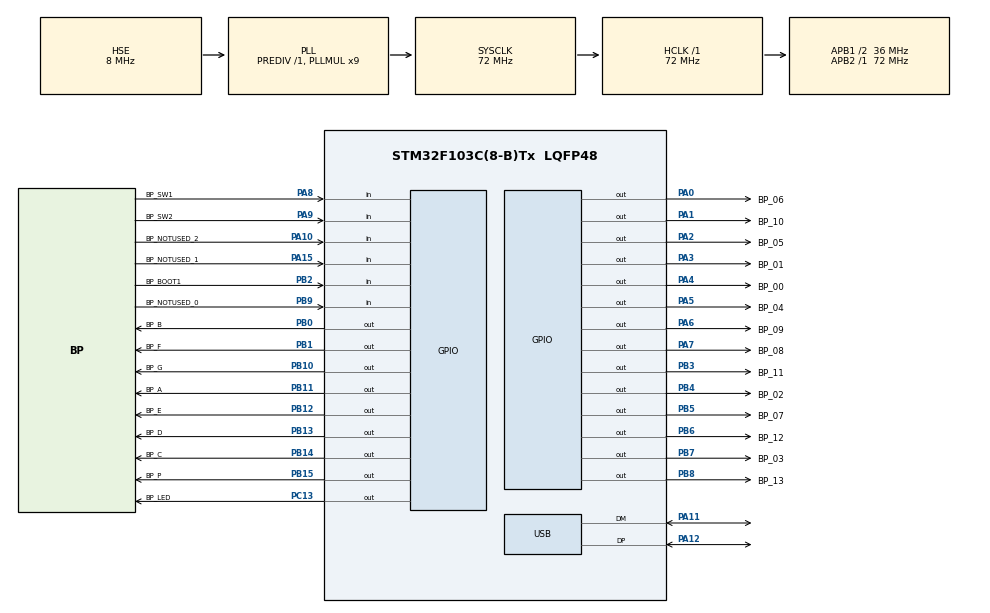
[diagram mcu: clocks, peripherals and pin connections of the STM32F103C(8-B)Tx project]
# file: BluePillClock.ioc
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FREERTOS.Tasks01=defaultTask,24,128,StartDefaultTask,Default,NULL,Dynamic,NULL,NULL
Mcu.Family=STM32F1
Mcu.Name=STM32F103C(8-B)Tx
Mcu.Package=LQFP48
NVIC.PriorityGroup=NVIC_PRIORITYGROUP_4
NVIC.TIM1_UP_IRQn=true\:0\:0\:false\:false\:true\:false\:false\:true
NVIC.TimeBase=TIM1_UP_IRQn
NVIC.TimeBaseIP=TIM1
NVIC.USB_LP_CAN1_RX0_IRQn=true\:5\:0\:false\:false\:true\:true\:false\:true
PA0-WKUP.GPIO_Label=BP_06
PA0-WKUP.Signal=GPIO_Output
PA1.GPIO_Label=BP_10
PA1.Signal=GPIO_Output
PA10.GPIO_Label=BP_NOTUSED_2
PA10.GPIO_PuPd=GPIO_PULLDOWN
PA10.Signal=GPIO_Input
PA11.Mode=Device
PA11.Signal=USB_DM
PA12.Mode=Device
PA12.Signal=USB_DP
PA13.Mode=Serial_Wire
PA13.Signal=SYS_JTMS-SWDIO
PA14.Mode=Serial_Wire
PA14.Signal=SYS_JTCK-SWCLK
PA15.GPIO_Label=BP_NOTUSED_1
PA15.GPIO_PuPd=GPIO_PULLDOWN
PA15.Signal=GPIO_Input
PA2.GPIO_Label=BP_05
PA2.Signal=GPIO_Output
PA3.GPIO_Label=BP_01
PA3.Signal=GPIO_Output
PA4.GPIO_Label=BP_00
PA4.Signal=GPIO_Output
PA5.GPIO_Label=BP_04
PA5.Signal=GPIO_Output
PA6.GPIO_Label=BP_09
PA6.Signal=GPIO_Output
PA7.GPIO_Label=BP_08
PA7.Signal=GPIO_Output
PA8.GPIO_Label=BP_SW1
PA8.GPIO_PuPd=GPIO_PULLUP
PA8.Signal=GPIO_Input
PA9.GPIO_Label=BP_SW2
PA9.GPIO_PuPd=GPIO_PULLUP
PA9.Signal=GPIO_Input
PB0.GPIO_Label=BP_B
PB0.Signal=GPIO_Output
PB1.GPIO_Label=BP_F
PB1.Signal=GPIO_Output
PB10.GPIO_Label=BP_G
PB10.Signal=GPIO_Output
PB11.GPIO_Label=BP_A
PB11.Signal=GPIO_Output
PB12.GPIO_Label=BP_E
PB12.Signal=GPIO_Output
PB13.GPIO_Label=BP_D
PB13.Signal=GPIO_Output
PB14.GPIO_Label=BP_C
PB14.Signal=GPIO_Output
PB15.GPIO_Label=BP_P
PB15.Signal=GPIO_Output
PB2.GPIO_Label=BP_BOOT1
PB2.GPIO_PuPd=GPIO_PULLDOWN
PB2.Signal=GPIO_Input
PB3.GPIO_Label=BP_11
PB3.Signal=GPIO_Output
PB4.GPIO_Label=BP_02
PB4.Signal=GPIO_Output
PB5.GPIO_Label=BP_07
PB5.Signal=GPIO_Output
PB6.GPIO_Label=BP_12
PB6.Signal=GPIO_Output
PB7.GPIO_Label=BP_03
PB7.Signal=GPIO_Output
PB8.GPIO_Label=BP_13
PB8.Signal=GPIO_Output
PB9.GPIO_Label=BP_NOTUSED_0
PB9.GPIO_PuPd=GPIO_PULLDOWN
PB9.Signal=GPIO_Input
PC13-TAMPER-RTC.GPIO_Label=BP_LED
PC13-TAMPER-RTC.GPIO_ModeDefaultOutputPP=GPIO_MODE_OUTPUT_OD
PC13-TAMPER-RTC.Signal=GPIO_Output
PC14-OSC32_IN.Mode=LSE-External-Oscillator
PC14-OSC32_IN.Signal=RCC_OSC32_IN
PC15-OSC32_OUT.Mode=LSE-External-Oscillator
PC15-OSC32_OUT.Signal=RCC_OSC32_OUT
PD0-OSC_IN.Mode=HSE-External-Oscillator
PD0-OSC_IN.Signal=RCC_OSC_IN
PD1-OSC_OUT.Mode=HSE-External-Oscillator
PD1-OSC_OUT.Signal=RCC_OSC_OUT
ProjectManager.HeapSize=0x200
ProjectManager.StackSize=0x400
ProjectManager.TargetToolchain=TrueSTUDIO
RCC.AHBFreq_Value=72000000
RCC.APB1CLKDivider=RCC_HCLK_DIV2
RCC.APB1Freq_Value=36000000
RCC.APB1TimFreq_Value=72000000
RCC.APB2Freq_Value=72000000
RCC.APB2TimFreq_Value=72000000
RCC.HCLKFreq_Value=72000000
RCC.PLLMUL=RCC_PLL_MUL9
RCC.PLLSourceVirtual=RCC_PLLSOURCE_HSE
RCC.RTCClockSelection=RCC_RTCCLKSOURCE_LSE
RCC.SYSCLKFreq_VALUE=72000000
RCC.SYSCLKSource=RCC_SYSCLKSOURCE_PLLCLK
RCC.USBFreq_Value=48000000
RCC.USBPrescaler=RCC_USBCLKSOURCE_PLL_DIV1_5
USB_DEVICE.CLASS_NAME_FS=CDC
USB_DEVICE.VirtualMode=Cdc
USB_DEVICE.VirtualModeFS=Cdc_FS
VP_FREERTOS_VS_CMSIS_V2.Mode=CMSIS_V2
VP_RTC_No_RTC_Output.Mode=RTC_OUT_NO
VP_RTC_VS_RTC_Activate.Mode=RTC_Enabled
VP_RTC_VS_RTC_Calendar.Mode=RTC_Calendar
VP_SYS_VS_tim1.Mode=TIM1
VP_USB_DEVICE_VS_USB_DEVICE_CDC_FS.Mode=CDC_FS
board=custom

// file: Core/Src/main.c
/* USER CODE BEGIN Header */
/**
  ******************************************************************************
  * @file           : main.c
  * @brief          : Main program body
  ******************************************************************************
  * @attention
  *
  * <h2><center>&copy; Copyright (c) 2021 STMicroelectronics.
  * All rights reserved.</center></h2>
  *
  * This software component is licensed by ST under Ultimate Liberty license
  * SLA0044, the "License"; You may not use this file except in compliance with
  * the License. You may obtain a copy of the License at:
  *                             www.st.com/SLA0044
  *
  ******************************************************************************
  */
/* USER CODE END Header */
#include "main.h"
#include "cmsis_os.h"
#include "usb_device.h"

/* USER CODE BEGIN Includes */

#include "Queue.h"
#include "usbd_cdc_if.h"
#include "time.h"

/* USER CODE END Includes */

/* USER CODE BEGIN PTD */
typedef struct
{
    QueueHandle_t queueTime ;
    QueueHandle_t queueDsp  ;
} Queue_readTime_t ;
/* USER CODE END PTD */

RTC_HandleTypeDef hrtc;

/* Definitions for defaultTask */
osThreadId_t defaultTaskHandle;
const osThreadAttr_t defaultTask_attributes = {
  .name = "defaultTask",
  .stack_size = 128 * 4,
  .priority = (osPriority_t) osPriorityNormal,
};
/* USER CODE BEGIN PV */

/* Definitions for rtcRead_Task */
osThreadId_t rtcRead_Task_Handle;
const osThreadAttr_t rtcRead_Task_attributes = {
  .name = "rtcRead_Task",
  .stack_size = 128 * 4,
  .priority = (osPriority_t) osPriorityNormal,
};

/* Definitions for dspTask */
osThreadId_t dspTask_Handle;
const osThreadAttr_t dspTask_attributes = {
  .name = "dspTask",
  .stack_size = 128 * 4,
  .priority = (osPriority_t) osPriorityNormal,
};

/* USER CODE END PV */

void SystemClock_Config(void);
static void MX_GPIO_Init(void);
static void MX_RTC_Init(void);
void StartDefaultTask(void *argument);

/* USER CODE BEGIN PFP */

void rtcRead_Task( void * argument) ;
void dspTask( void * argument) ;

/* USER CODE END PFP */

int main(void)
{
  /* USER CODE BEGIN 1 */
    Queue_readTime_t Queue_readTime ;
  /* USER CODE END 1 */

  /* MCU Configuration--------------------------------------------------------*/

  /* Reset of all peripherals, Initializes the Flash interface and the Systick. */
  HAL_Init();

  /* USER CODE BEGIN Init */

  Queue_readTime.queueTime = xQueueCreate( 8 , sizeof( time_t ) );
  Queue_readTime.queueDsp  = xQueueCreate( 8 , sizeof( uint8_t ) * 14 ) ;

  /* USER CODE END Init */

  /* Configure the system clock */
  SystemClock_Config();

  /* Initialize all configured peripherals */
  MX_GPIO_Init();
  MX_RTC_Init();

  /* Init scheduler */
  osKernelInitialize();

  /* Create the thread(s) */
  /* creation of defaultTask */
//  defaultTaskHandle = osThreadNew(StartDefaultTask, ( void * ) Queue_readTime.queueTime , &defaultTask_attributes);

  /* USER CODE BEGIN RTOS_THREADS */
//  rtcRead_Task_Handle = osThreadNew(rtcRead_Task , ( void * ) &Queue_readTime , &rtcRead_Task_attributes);
  dspTask_Handle      = osThreadNew(dspTask      , ( void * ) Queue_readTime.queueDsp  , &dspTask_attributes     );
  /* USER CODE END RTOS_THREADS */

  /* Start scheduler */
  osKernelStart();

  /* We should never get here as control is now taken by the scheduler */
  /* Infinite loop */
  while (1)
  {

  }
}

void SystemClock_Config(void)
{
  RCC_OscInitTypeDef RCC_OscInitStruct = {0};
  RCC_ClkInitTypeDef RCC_ClkInitStruct = {0};
  RCC_PeriphCLKInitTypeDef PeriphClkInit = {0};

  /** Initializes the RCC Oscillators according to the specified parameters
  * in the RCC_OscInitTypeDef structure.
  */
  RCC_OscInitStruct.OscillatorType = RCC_OSCILLATORTYPE_HSE|RCC_OSCILLATORTYPE_LSE;
  RCC_OscInitStruct.HSEState = RCC_HSE_ON;
  RCC_OscInitStruct.HSEPredivValue = RCC_HSE_PREDIV_DIV1;
  RCC_OscInitStruct.LSEState = RCC_LSE_ON;
  RCC_OscInitStruct.HSIState = RCC_HSI_ON;
  RCC_OscInitStruct.PLL.PLLState = RCC_PLL_ON;
  RCC_OscInitStruct.PLL.PLLSource = RCC_PLLSOURCE_HSE;
  RCC_OscInitStruct.PLL.PLLMUL = RCC_PLL_MUL9;
  if (HAL_RCC_OscConfig(&RCC_OscInitStruct) != HAL_OK)
  {
    Error_Handler();
  }
  /** Initializes the CPU, AHB and APB buses clocks
  */
  RCC_ClkInitStruct.ClockType = RCC_CLOCKTYPE_HCLK|RCC_CLOCKTYPE_SYSCLK
                              |RCC_CLOCKTYPE_PCLK1|RCC_CLOCKTYPE_PCLK2;
  RCC_ClkInitStruct.SYSCLKSource = RCC_SYSCLKSOURCE_PLLCLK;
  RCC_ClkInitStruct.AHBCLKDivider = RCC_SYSCLK_DIV1;
  RCC_ClkInitStruct.APB1CLKDivider = RCC_HCLK_DIV2;
  RCC_ClkInitStruct.APB2CLKDivider = RCC_HCLK_DIV1;

  if (HAL_RCC_ClockConfig(&RCC_ClkInitStruct, FLASH_LATENCY_2) != HAL_OK)
  {
    Error_Handler();
  }
  PeriphClkInit.PeriphClockSelection = RCC_PERIPHCLK_RTC|RCC_PERIPHCLK_USB;
  PeriphClkInit.RTCClockSelection = RCC_RTCCLKSOURCE_LSE;
  PeriphClkInit.UsbClockSelection = RCC_USBCLKSOURCE_PLL_DIV1_5;
  if (HAL_RCCEx_PeriphCLKConfig(&PeriphClkInit) != HAL_OK)
  {
    Error_Handler();
  }
}

static void MX_RTC_Init(void)
{

  RTC_TimeTypeDef sTime = {0};
  RTC_DateTypeDef DateToUpdate = {0};

  /** Initialize RTC Only
  */
  hrtc.Instance = RTC;
  hrtc.Init.AsynchPrediv = RTC_AUTO_1_SECOND;
  hrtc.Init.OutPut = RTC_OUTPUTSOURCE_NONE;
  if (HAL_RTC_Init(&hrtc) != HAL_OK)
  {
    Error_Handler();
  }

  /** Initialize RTC and set the Time and Date
  */
  sTime.Hours = 0x0;
  sTime.Minutes = 0x0;
  sTime.Seconds = 0x0;

  if (HAL_RTC_SetTime(&hrtc, &sTime, RTC_FORMAT_BCD) != HAL_OK)
  {
    Error_Handler();
  }
  DateToUpdate.WeekDay = RTC_WEEKDAY_MONDAY;
  DateToUpdate.Month = RTC_MONTH_JANUARY;
  DateToUpdate.Date = 0x1;
  DateToUpdate.Year = 0x0;

  if (HAL_RTC_SetDate(&hrtc, &DateToUpdate, RTC_FORMAT_BCD) != HAL_OK)
  {
    Error_Handler();
  }

}

static void MX_GPIO_Init(void)
{
  GPIO_InitTypeDef GPIO_InitStruct = {0};

  /* GPIO Ports Clock Enable */
  __HAL_RCC_GPIOC_CLK_ENABLE();
  __HAL_RCC_GPIOD_CLK_ENABLE();
  __HAL_RCC_GPIOA_CLK_ENABLE();
  __HAL_RCC_GPIOB_CLK_ENABLE();

  /*Configure GPIO pin Output Level */
  HAL_GPIO_WritePin(BP_LED_GPIO_Port, BP_LED_Pin, GPIO_PIN_RESET);

  /*Configure GPIO pin Output Level */
  HAL_GPIO_WritePin(GPIOA, BP_06_Pin|BP_10_Pin|BP_05_Pin|BP_01_Pin
                          |BP_00_Pin|BP_04_Pin|BP_09_Pin|BP_08_Pin, GPIO_PIN_RESET);

  /*Configure GPIO pin Output Level */
  HAL_GPIO_WritePin(GPIOB, BP_B_Pin|BP_F_Pin|BP_G_Pin|BP_A_Pin
                          |BP_E_Pin|BP_D_Pin|BP_C_Pin|BP_P_Pin
                          |BP_11_Pin|BP_02_Pin|BP_07_Pin|BP_12_Pin
                          |BP_03_Pin|BP_13_Pin, GPIO_PIN_RESET);

  /*Configure GPIO pin : BP_LED_Pin */
  GPIO_InitStruct.Pin = BP_LED_Pin;
  GPIO_InitStruct.Mode = GPIO_MODE_OUTPUT_OD;
  GPIO_InitStruct.Pull = GPIO_NOPULL;
  GPIO_InitStruct.Speed = GPIO_SPEED_FREQ_LOW;
  HAL_GPIO_Init(BP_LED_GPIO_Port, &GPIO_InitStruct);

  /*Configure GPIO pins : BP_06_Pin BP_10_Pin BP_05_Pin BP_01_Pin
                           BP_00_Pin BP_04_Pin BP_09_Pin BP_08_Pin */
  GPIO_InitStruct.Pin = BP_06_Pin|BP_10_Pin|BP_05_Pin|BP_01_Pin
                          |BP_00_Pin|BP_04_Pin|BP_09_Pin|BP_08_Pin;
  GPIO_InitStruct.Mode = GPIO_MODE_OUTPUT_PP;
  GPIO_InitStruct.Pull = GPIO_NOPULL;
  GPIO_InitStruct.Speed = GPIO_SPEED_FREQ_LOW;
  HAL_GPIO_Init(GPIOA, &GPIO_InitStruct);

  /*Configure GPIO pins : BP_B_Pin BP_F_Pin BP_G_Pin BP_A_Pin
                           BP_E_Pin BP_D_Pin BP_C_Pin BP_P_Pin
                           BP_11_Pin BP_02_Pin BP_07_Pin BP_12_Pin
                           BP_03_Pin BP_13_Pin */
  GPIO_InitStruct.Pin = BP_B_Pin|BP_F_Pin|BP_G_Pin|BP_A_Pin
                          |BP_E_Pin|BP_D_Pin|BP_C_Pin|BP_P_Pin
                          |BP_11_Pin|BP_02_Pin|BP_07_Pin|BP_12_Pin
                          |BP_03_Pin|BP_13_Pin;
  GPIO_InitStruct.Mode = GPIO_MODE_OUTPUT_PP;
  GPIO_InitStruct.Pull = GPIO_NOPULL;
  GPIO_InitStruct.Speed = GPIO_SPEED_FREQ_LOW;
  HAL_GPIO_Init(GPIOB, &GPIO_InitStruct);

  /*Configure GPIO pins : BP_BOOT1_Pin BP_NOTUSED_0_Pin */
  GPIO_InitStruct.Pin = BP_BOOT1_Pin|BP_NOTUSED_0_Pin;
  GPIO_InitStruct.Mode = GPIO_MODE_INPUT;
  GPIO_InitStruct.Pull = GPIO_PULLDOWN;
  HAL_GPIO_Init(GPIOB, &GPIO_InitStruct);

  /*Configure GPIO pins : BP_SW1_Pin BP_SW2_Pin */
  GPIO_InitStruct.Pin = BP_SW1_Pin|BP_SW2_Pin;
  GPIO_InitStruct.Mode = GPIO_MODE_INPUT;
  GPIO_InitStruct.Pull = GPIO_PULLUP;
  HAL_GPIO_Init(GPIOA, &GPIO_InitStruct);

  /*Configure GPIO pins : BP_NOTUSED_2_Pin BP_NOTUSED_1_Pin */
  GPIO_InitStruct.Pin = BP_NOTUSED_2_Pin|BP_NOTUSED_1_Pin;
  GPIO_InitStruct.Mode = GPIO_MODE_INPUT;
  GPIO_InitStruct.Pull = GPIO_PULLDOWN;
  HAL_GPIO_Init(GPIOA, &GPIO_InitStruct);

}

/* USER CODE BEGIN 4 */

void rtcRead_Task( void * argument)
{
    HAL_StatusTypeDef s_retHal ;
    int s32_ret ;

    RTC_TimeTypeDef s_timePrevious ;
    RTC_TimeTypeDef s_timeCurrent  ;

    Queue_readTime_t * p_Queue_readTime ;
    time_t epoch = 0 ;

    p_Queue_readTime = ( Queue_readTime_t * ) argument ;

    ( void ) memset( &s_timePrevious , 0x00 , sizeof( s_timePrevious ) ) ;
    ( void ) memset( &s_timeCurrent  , 0x00 , sizeof( s_timeCurrent  ) ) ;

    for( ; /* EVER */ ; )
    {
        s_retHal = HAL_RTC_GetTime( &hrtc , &s_timeCurrent , RTC_FORMAT_BIN ) ;
        if( HAL_OK != s_retHal )
        {
            continue ;
        }

        s32_ret = memcmp( &s_timeCurrent , &s_timePrevious , sizeof( s_timeCurrent ) ) ;
        if( 0 != s32_ret )
        {
            ( void ) memcpy( &s_timePrevious , &s_timeCurrent , sizeof( s_timePrevious ) ) ;
            HAL_GPIO_WritePin(BP_LED_GPIO_Port, BP_LED_Pin, GPIO_PIN_RESET);

            epoch++ ;

            xQueueSend( p_Queue_readTime->queueTime , &epoch, 100 );
        }
        else
        {
            HAL_GPIO_WritePin(BP_LED_GPIO_Port, BP_LED_Pin, GPIO_PIN_SET);
        }

        osDelay(100);
    }
}

void dspTask( void * argument)
{
    /**********
     *
     * Number | PGFE.DCBA | Value
     *   0    | 0011.1111 | 3Fh
     *   1    | 0000.0110 | 06h
     *   2    | 0101.1011 | 5Bh
     *   3    | 0100.1111 | 4Fh
     *   4    | 0110.0110 | 66h
     *   5    | 0110.1101 | 6Dh
     *   6    | 0111.1101 | 7Dh
     *   7    | 0000.0111 | 07h
     *   8    | 0111.1111 | 7Fh
     *   9    | 0110.1111 | 6Fh
     *   A    | 0111.0111 | 77h
     *   B    | 0111.1100 | 7Ch
     *   C    | 0011.1001 | 39h
     *   D    | 0101.1110 | 5Eh
     *   E    | 0111.1001 | 79h
     *   F    | 0111.0001 | 71h
     *
     **********/
    //                          0      1      2      3      4      5      6      7      8      9      A      B      C      D      E      F
    uint8_t u8_numbers[] = { 0x3F , 0x06 , 0x5B , 0x4F , 0x66 , 0x6D , 0x7D , 0x07 , 0x7F , 0x6F , 0x77 , 0x7C , 0x39 , 0x5E , 0x79 , 0x71 } ;

    /**********
     *
     * Number | GPFE.DCBA | Value
     *   0    | 0011.1111 | 3Fh
     *   1    | 0000.0110 | 06h
     *   2    | 1001.1011 | 9Bh
     *   3    | 1000.1111 | 8Fh
     *   4    | 1010.0110 | A6h
     *   5    | 1010.1101 | ADh
     *   6    | 1011.1101 | BDh
     *   7    | 0000.0111 | 07h
     *   8    | 1011.1111 | BFh
     *   9    | 1010.1111 | AFh
     *   A    | 1011.0111 | B7h
     *   B    | 1011.1100 | BCh
     *   C    | 0011.1001 | 39h
     *   D    | 1001.1110 | 9Eh
     *   E    | 1011.1001 | B9h
     *   F    | 1011.0001 | B1h
     *
     **********/
    //                                0      1      2      3      4      5      6      7      8      9      A      B      C      D      E      F
    uint8_t u8_numUpSideDown[] = { 0x3F , 0x06 , 0x9B , 0x8F , 0xA6 , 0xAD , 0xBD , 0x07 , 0xBF , 0xAF , 0xB7 , 0xBC , 0x39 , 0x9E , 0xB9 , 0xB1 } ;

    uint8_t u8_count ;
    uint8_t u8_index ;
    uint8_t segment ;

    struct _DISPLAY_GPIO_
    {
        GPIO_TypeDef * GPIOx    ;
        uint16_t       GPIO_Pin ;
    } displayGpio[] = { { .GPIOx = BP_00_GPIO_Port , .GPIO_Pin = BP_00_Pin } ,
                        { .GPIOx = BP_01_GPIO_Port , .GPIO_Pin = BP_01_Pin } ,
                        { .GPIOx = BP_02_GPIO_Port , .GPIO_Pin = BP_02_Pin } ,
                        { .GPIOx = BP_03_GPIO_Port , .GPIO_Pin = BP_03_Pin } ,
                        { .GPIOx = BP_04_GPIO_Port , .GPIO_Pin = BP_04_Pin } ,
                        { .GPIOx = BP_05_GPIO_Port , .GPIO_Pin = BP_05_Pin } ,
                        { .GPIOx = BP_06_GPIO_Port , .GPIO_Pin = BP_06_Pin } ,
                        { .GPIOx = BP_07_GPIO_Port , .GPIO_Pin = BP_07_Pin } ,
                        { .GPIOx = BP_08_GPIO_Port , .GPIO_Pin = BP_08_Pin } ,
                        { .GPIOx = BP_09_GPIO_Port , .GPIO_Pin = BP_09_Pin } ,
                        { .GPIOx = BP_10_GPIO_Port , .GPIO_Pin = BP_10_Pin } ,
                        { .GPIOx = BP_11_GPIO_Port , .GPIO_Pin = BP_11_Pin } ,
                        { .GPIOx = BP_12_GPIO_Port , .GPIO_Pin = BP_12_Pin } ,
                        { .GPIOx = BP_13_GPIO_Port , .GPIO_Pin = BP_13_Pin } };

    struct _SEGMENT_GPIO_
    {
        GPIO_TypeDef * GPIOx    ;
        uint16_t       GPIO_Pin ;
    } segmentGpio[] = { { .GPIOx = BP_A_GPIO_Port , .GPIO_Pin = BP_A_Pin } ,
                        { .GPIOx = BP_B_GPIO_Port , .GPIO_Pin = BP_B_Pin } ,
                        { .GPIOx = BP_C_GPIO_Port , .GPIO_Pin = BP_C_Pin } ,
                        { .GPIOx = BP_D_GPIO_Port , .GPIO_Pin = BP_D_Pin } ,
                        { .GPIOx = BP_E_GPIO_Port , .GPIO_Pin = BP_E_Pin } ,
                        { .GPIOx = BP_F_GPIO_Port , .GPIO_Pin = BP_F_Pin } ,
                        { .GPIOx = BP_G_GPIO_Port , .GPIO_Pin = BP_G_Pin } ,
                        { .GPIOx = BP_P_GPIO_Port , .GPIO_Pin = BP_P_Pin } } ;

    for( u8_count = 0 ; u8_count < 14 ; u8_count++ )
    {
        HAL_GPIO_WritePin( displayGpio[ u8_count ].GPIOx , displayGpio[ u8_count ].GPIO_Pin, GPIO_PIN_RESET);
    }

    for( u8_count = 0 ; u8_count < 8 ; u8_count++ )
    {
        HAL_GPIO_WritePin( segmentGpio[ u8_count ].GPIOx , segmentGpio[ u8_count ].GPIO_Pin, GPIO_PIN_RESET);
    }

uint16_t timeX ;
uint8_t idx = 0 ;

    for( u8_index = 0 , timeX = 0 ; /* EVER */ ; )
    {
        timeX++ ;
        if( timeX >= 1000 )
        {
            timeX = 0 ;
            idx++ ;
        }

        osDelay(1);

        HAL_GPIO_WritePin( displayGpio[ u8_index ].GPIOx , displayGpio[ u8_index ].GPIO_Pin, GPIO_PIN_RESET);

        u8_index++ ;
        if( u8_index >= 14 )
        {
            u8_index = 0 ;
        }

        if( u8_index != 10 && u8_index != 12 )
        {
            segment = u8_numbers[ idx & 0x0F ] ;
        }
        else
        {
            segment = u8_numUpSideDown[ idx & 0x0F ] ;
        }

        for( u8_count = 0 ; u8_count < 8 ; u8_count++ )
        {
            GPIO_PinState pinState = ( segment & ( 0x01 << u8_count ) ) ? ( GPIO_PIN_SET ) : ( GPIO_PIN_RESET ) ;
            HAL_GPIO_WritePin( segmentGpio[ u8_count ].GPIOx , segmentGpio[ u8_count ].GPIO_Pin, pinState);
        }

        HAL_GPIO_WritePin( displayGpio[ u8_index ].GPIOx , displayGpio[ u8_index ].GPIO_Pin, GPIO_PIN_SET);
    }
}

/* USER CODE END 4 */

void StartDefaultTask(void *argument)
{
  /* init code for USB_DEVICE */
  MX_USB_DEVICE_Init();
  /* USER CODE BEGIN 5 */

  uint8_t buf_tx[ 64 ] ;
  uint16_t buf_tx_size ;
  uint8_t u8_ret ;

  QueueHandle_t xQueue_time ;
  time_t epoch ;

  xQueue_time = ( QueueHandle_t ) argument ;

  /* Infinite loop */
  for( ; /* EVER */ ; )
  {
      if( xQueueReceive( xQueue_time , &epoch, 5000 ) == pdPASS)
      {
          buf_tx_size = sprintf( ( char * ) buf_tx , "%lu\n" , epoch ) ;
      }
      else
      {
          buf_tx_size = sprintf( ( char * ) buf_tx , "No time received!\n" ) ;
      }

      u8_ret = CDC_Transmit_FS( buf_tx , buf_tx_size ) ;
      if( USBD_OK != u8_ret )
      {
          // TODO!
      }
  }
  /* USER CODE END 5 */
}

 /**
  * @brief  Period elapsed callback in non blocking mode
  * @note   This function is called  when TIM1 interrupt took place, inside
  * HAL_TIM_IRQHandler(). It makes a direct call to HAL_IncTick() to increment
  * a global variable "uwTick" used as application time base.
  * @param  htim : TIM handle
  * @retval None
  */
void HAL_TIM_PeriodElapsedCallback(TIM_HandleTypeDef *htim)
{
  if (htim->Instance == TIM1) {
    HAL_IncTick();
  }
}

void Error_Handler(void)
{
  __disable_irq();
  while (1)
  {
  }
}

/************************ (C) COPYRIGHT STMicroelectronics *****END OF FILE****/
